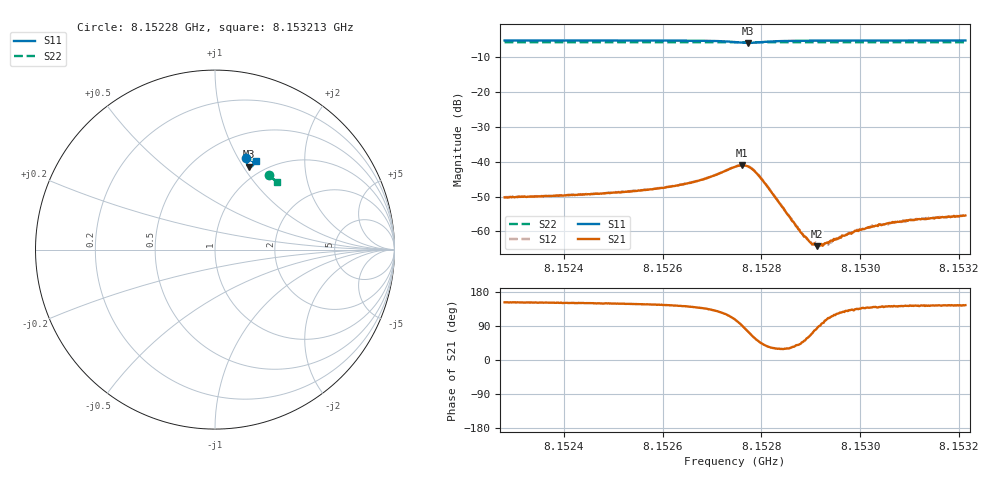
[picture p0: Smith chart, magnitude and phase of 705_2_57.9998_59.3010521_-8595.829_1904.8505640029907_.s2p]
#  HZ  S  RI  R  50.00
! Rohde & Schwarz Vector Network Analyzer
! Rohde-Schwarz,ZNB20-2Port,1311601062101988,3.16
! Created: UTC 3/21/2024, 1:21:56 AM
! freq[Hz]  re:S11  im:S11  re:S21  im:S21  re:S12  im:S12  re:S22  im:S22
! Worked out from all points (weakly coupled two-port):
!   401 points, 8.15228 GHz to 8.153213 GHz, reference 50 ohm
!   highest |S21| = -41.03 dB at 8.152761 GHz (marker M1); lowest = -64.2 dB at 8.152912 GHz (marker M2)
!   lowest |S11| = -6.0 dB at 8.152772 GHz (marker M3), VSWR 3.00, Z = 43.1 + j53.2 ohm
!   |S11| at or under -10 dB: nowhere
!   |S22| runs from -5.9 to -5.8 dB; largest |S21 - S12| = 0.00016
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8.1522804e9  0.1746 0.5114  -0.00271 0.00142  -0.00271 0.00147  0.2997 0.4144
8.1524366e9  0.1865 0.5072  -0.00293 0.00168  -0.00291 0.00175  0.3076 0.4084
8.1525182e9  0.1929 0.5047  -0.00312 0.00191  -0.00314 0.00201  0.3118 0.405
8.1525929e9  0.1998 0.5013  -0.00344 0.00232  -0.00341 0.00241  0.3154 0.4019
8.1526745e9  0.2093 0.4938  -0.00397 0.0036  -0.00394 0.00363  0.3195 0.3985
8.1527468e9  0.2108 0.4685  -0.00244 0.00806  -0.00236 0.0081  0.3226 0.3947
8.1527607e9  0.2015 0.4621  -0.000189 0.00888  -0.000141 0.00892  0.3228 0.394
8.1527724e9  0.1903 0.4623  0.00209 0.00831  0.00219 0.00838  0.3229 0.3939
8.1527841e9  0.1815 0.4689  0.00371 0.00657  0.0038 0.00665  0.3233 0.3938
8.152798e9  0.1781 0.4796  0.00413 0.00425  0.00423 0.00427  0.3241 0.3936
8.152882e9  0.197 0.4988  0.000646 0.000682  0.000674 0.000668  0.3288 0.3906
8.1528913e9  0.1985 0.4988  0.000451 0.000676  0.000476 0.000651  0.3293 0.3903
8.152903e9  0.2003 0.4989  0.000221 0.000616  0.000233 0.000606  0.3299 0.3898
8.1529123e9  0.2018 0.4987  7.57e-05 0.000612  7.61e-05 0.000647  0.3303 0.3893
8.1529216e9  0.203 0.4986  -6.34e-05 0.00066  -8.23e-05 0.000623  0.3308 0.389
8.152938e9  0.2049 0.4984  -0.000252 0.000664  -0.000239 0.000656  0.3316 0.3881
8.1529636e9  0.2079 0.4978  -0.000519 0.000706  -0.000478 0.000705  0.3329 0.3871
8.1529962e9  0.2113 0.497  -0.000707 0.000726  -0.000712 0.000766  0.3346 0.3858
8.1530242e9  0.2136 0.4961  -0.000878 0.000766  -0.000916 0.000803  0.3358 0.3846
8.1530592e9  0.2167 0.4953  -0.00105 0.000817  -0.00101 0.000818  0.3375 0.383
8.1531362e9  0.2228 0.4932  -0.00121 0.000918  -0.00124 0.000911  0.341 0.3796
8.1532131e9  0.2283 0.4909  -0.00138 0.000979  -0.00138 0.00101  0.3446 0.3763
